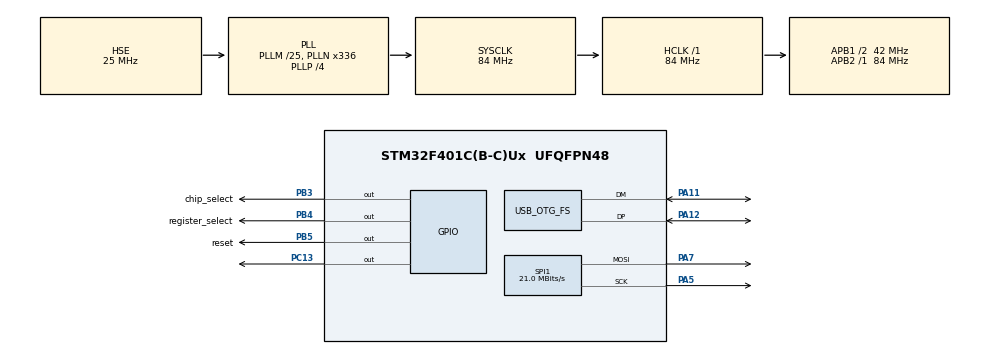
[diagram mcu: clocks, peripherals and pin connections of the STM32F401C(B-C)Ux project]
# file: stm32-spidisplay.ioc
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Dma.Request0=SPI1_TX
Dma.SPI1_TX.0.Direction=DMA_MEMORY_TO_PERIPH
Dma.SPI1_TX.0.FIFOMode=DMA_FIFOMODE_DISABLE
Dma.SPI1_TX.0.Instance=DMA2_Stream3
Dma.SPI1_TX.0.MemDataAlignment=DMA_MDATAALIGN_HALFWORD
Dma.SPI1_TX.0.MemInc=DMA_MINC_ENABLE
Dma.SPI1_TX.0.Mode=DMA_NORMAL
Dma.SPI1_TX.0.PeriphDataAlignment=DMA_PDATAALIGN_HALFWORD
Dma.SPI1_TX.0.PeriphInc=DMA_PINC_DISABLE
Dma.SPI1_TX.0.Priority=DMA_PRIORITY_LOW
Mcu.Family=STM32F4
Mcu.Name=STM32F401C(B-C)Ux
Mcu.Package=UFQFPN48
NVIC.DMA2_Stream3_IRQn=true\:0\:0\:false\:false\:true\:false\:true\:true
NVIC.OTG_FS_IRQn=true\:0\:0\:false\:false\:true\:false\:true\:true
NVIC.PriorityGroup=NVIC_PRIORITYGROUP_4
PA11.Mode=Device_Only
PA11.Signal=USB_OTG_FS_DM
PA12.Mode=Device_Only
PA12.Signal=USB_OTG_FS_DP
PA5.Mode=TX_Only_Simplex_Unidirect_Master
PA5.Signal=SPI1_SCK
PA7.Mode=TX_Only_Simplex_Unidirect_Master
PA7.Signal=SPI1_MOSI
PB3.GPIO_Label=chip_select
PB3.PinState=GPIO_PIN_SET
PB3.Signal=GPIO_Output
PB4.GPIO_Label=register_select
PB4.Signal=GPIO_Output
PB5.GPIO_Label=reset
PB5.Signal=GPIO_Output
PC13-ANTI_TAMP.PinState=GPIO_PIN_RESET
PC13-ANTI_TAMP.Signal=GPIO_Output
PC14-OSC32_IN.Mode=LSE-External-Oscillator
PC14-OSC32_IN.Signal=RCC_OSC32_IN
PC15-OSC32_OUT.Mode=LSE-External-Oscillator
PC15-OSC32_OUT.Signal=RCC_OSC32_OUT
PH0\ -\ OSC_IN.Mode=HSE-External-Oscillator
PH0\ -\ OSC_IN.Signal=RCC_OSC_IN
PH1\ -\ OSC_OUT.Mode=HSE-External-Oscillator
PH1\ -\ OSC_OUT.Signal=RCC_OSC_OUT
ProjectManager.HeapSize=0x200
ProjectManager.StackSize=0x400
ProjectManager.TargetToolchain=STM32CubeIDE
RCC.48MHZClocksFreq_Value=48000000
RCC.AHBFreq_Value=84000000
RCC.APB1CLKDivider=RCC_HCLK_DIV2
RCC.APB1Freq_Value=42000000
RCC.APB1TimFreq_Value=84000000
RCC.APB2Freq_Value=84000000
RCC.APB2TimFreq_Value=84000000
RCC.CortexFreq_Value=84000000
RCC.HCLKFreq_Value=84000000
RCC.HSE_VALUE=25000000
RCC.HSI_VALUE=16000000
RCC.PLLM=25
RCC.PLLN=336
RCC.PLLP=RCC_PLLP_DIV4
RCC.PLLQ=7
RCC.SYSCLKFreq_VALUE=84000000
RCC.SYSCLKSource=RCC_SYSCLKSOURCE_PLLCLK
RCC.VCOOutputFreq_Value=336000000
SPI1.BaudRatePrescaler=SPI_BAUDRATEPRESCALER_4
SPI1.CalculateBaudRate=21.0 MBits/s
SPI1.DataSize=SPI_DATASIZE_16BIT
SPI1.Direction=SPI_DIRECTION_2LINES
SPI1.Mode=SPI_MODE_MASTER
SPI1.VirtualType=VM_MASTER
TIM4.Period=105
USB_DEVICE.CLASS_NAME_FS=CDC
USB_DEVICE.VirtualMode=Cdc
USB_DEVICE.VirtualModeFS=Cdc_FS
USB_OTG_FS.VirtualMode=Device_Only
VP_TIM4_VS_ClockSourceINT.Mode=Internal
VP_USB_DEVICE_VS_USB_DEVICE_CDC_FS.Mode=CDC_FS
board=custom

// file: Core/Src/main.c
/* USER CODE BEGIN Header */
/**
  ******************************************************************************
  * @file           : main.c
  * @brief          : Main program body
  ******************************************************************************
  * @attention
  *
  * Copyright (c) 2025 STMicroelectronics.
  * All rights reserved.
  *
  * This software is licensed under terms that can be found in the LICENSE file
  * in the root directory of this software component.
  * If no LICENSE file comes with this software, it is provided AS-IS.
  *
  ******************************************************************************
  */
/* USER CODE END Header */
#include "main.h"
#include "dma.h"
#include "spi.h"
#include "tim.h"
#include "usb_device.h"
#include "gpio.h"

/* USER CODE BEGIN Includes */

#include "rpi-display/rpiDisplayShapes.h"
#include "rpi-display/FreeMonoBold24pt7b.h"
#include "rpi-display/FreeSans18pt7b.h"
#include "rpi-display/rpiSceneBuilderUser.h"
#include <stdio.h>

#include "stm32f4xx_hal.h"

/* USER CODE END Includes */

/* USER CODE BEGIN PD */
extern uint8_t CDC_Transmit_FS (uint8_t *data, uint16_t);

/* USER CODE END PD */

void SystemClock_Config(void);

int main(void)
{

  /* MCU Configuration--------------------------------------------------------*/

  /* Reset of all peripherals, Initializes the Flash interface and the Systick. */
  HAL_Init();

  /* Configure the system clock */
  SystemClock_Config();

  /* Initialize all configured peripherals */
  MX_GPIO_Init();
  MX_DMA_Init();
  MX_SPI1_Init();
  MX_TIM4_Init();
  MX_USB_DEVICE_Init();

  /* Infinite loop */
  /* USER CODE BEGIN WHILE */
  resetScreen();
  initializeScreen();
  dosplashscene();
  HAL_Delay(4000);
  while (1)
  {

	  dootherstring();
	  HAL_Delay(400);
	  dostring();
	  HAL_Delay(400);

//	  CDC_Transmit_FS (status, sizeof(status));
    /* USER CODE END WHILE */

  }
}

void SystemClock_Config(void)
{
  RCC_OscInitTypeDef RCC_OscInitStruct = {0};
  RCC_ClkInitTypeDef RCC_ClkInitStruct = {0};

  /** Configure the main internal regulator output voltage
  */
  __HAL_RCC_PWR_CLK_ENABLE();
  __HAL_PWR_VOLTAGESCALING_CONFIG(PWR_REGULATOR_VOLTAGE_SCALE2);

  /** Initializes the RCC Oscillators according to the specified parameters
  * in the RCC_OscInitTypeDef structure.
  */
  RCC_OscInitStruct.OscillatorType = RCC_OSCILLATORTYPE_HSE;
  RCC_OscInitStruct.HSEState = RCC_HSE_ON;
  RCC_OscInitStruct.PLL.PLLState = RCC_PLL_ON;
  RCC_OscInitStruct.PLL.PLLSource = RCC_PLLSOURCE_HSE;
  RCC_OscInitStruct.PLL.PLLM = 25;
  RCC_OscInitStruct.PLL.PLLN = 336;
  RCC_OscInitStruct.PLL.PLLP = RCC_PLLP_DIV4;
  RCC_OscInitStruct.PLL.PLLQ = 7;
  if (HAL_RCC_OscConfig(&RCC_OscInitStruct) != HAL_OK)
  {
    Error_Handler();
  }

  /** Initializes the CPU, AHB and APB buses clocks
  */
  RCC_ClkInitStruct.ClockType = RCC_CLOCKTYPE_HCLK|RCC_CLOCKTYPE_SYSCLK
                              |RCC_CLOCKTYPE_PCLK1|RCC_CLOCKTYPE_PCLK2;
  RCC_ClkInitStruct.SYSCLKSource = RCC_SYSCLKSOURCE_PLLCLK;
  RCC_ClkInitStruct.AHBCLKDivider = RCC_SYSCLK_DIV1;
  RCC_ClkInitStruct.APB1CLKDivider = RCC_HCLK_DIV2;
  RCC_ClkInitStruct.APB2CLKDivider = RCC_HCLK_DIV1;

  if (HAL_RCC_ClockConfig(&RCC_ClkInitStruct, FLASH_LATENCY_2) != HAL_OK)
  {
    Error_Handler();
  }
}

void Error_Handler(void)
{
  __disable_irq();
  while (1)
  {
  }
}
